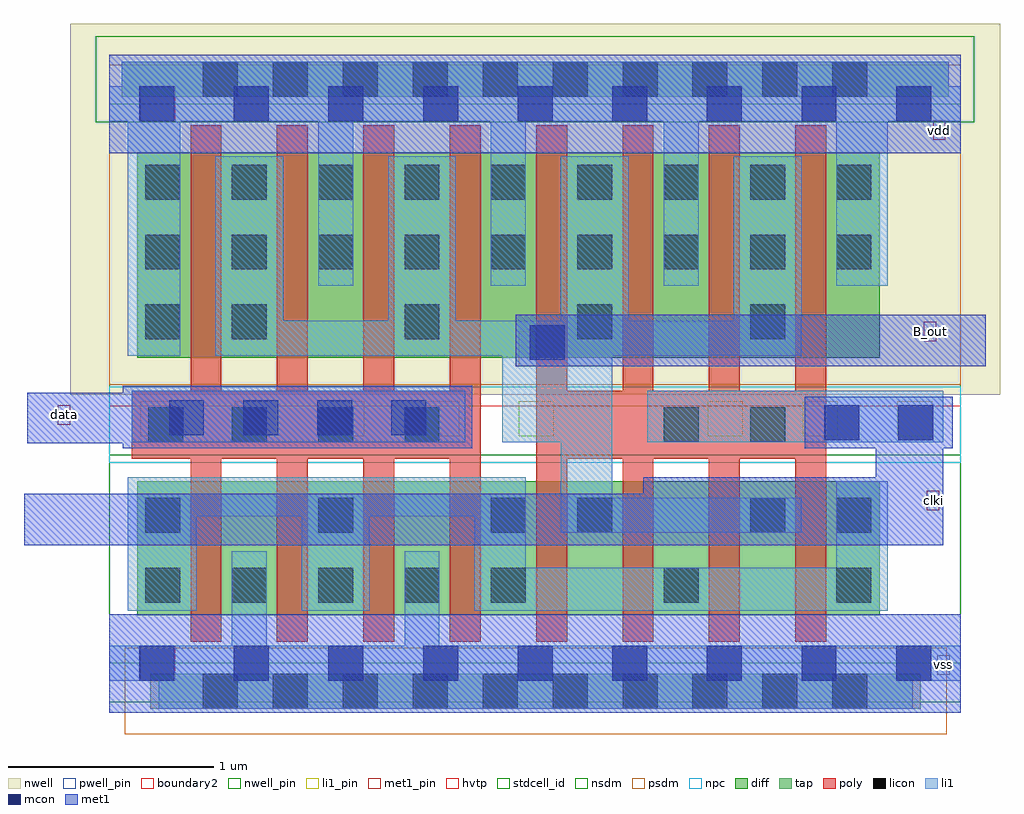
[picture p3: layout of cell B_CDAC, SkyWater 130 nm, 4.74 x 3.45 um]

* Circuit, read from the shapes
.subckt B_CDAC B_out clki data vdd vss
XM1 vss data n1 vss sky130_fd_pr__nfet_01v8 w=0.65 l=0.15 m=4
XM2 B_out clki n1 vss sky130_fd_pr__nfet_01v8 w=0.65 l=0.15 m=4
XM3 B_out data vdd vdd sky130_fd_pr__pfet_01v8_hvt w=1 l=0.15 m=4
XM4 B_out clki vdd vdd sky130_fd_pr__pfet_01v8_hvt w=1 l=0.15 m=4
.ends

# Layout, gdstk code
import gdstk
lib = gdstk.Library(unit=1e-6, precision=1e-09)
def R(c, l, rs):  # rectangles x0, y0, x1, y1
    for r in rs: c.add(gdstk.rectangle(r[:2], r[2:], *l))
def A(c, l, x, y, w, h, nx, ny, dx, dy):  # array of equal rectangles
    R(c, l, [(x+i*dx, y+j*dy, x+i*dx+w, y+j*dy+h) for i in range(nx) for j in range(ny)])
def P(c, l, *ps):  # polygons
    for p in ps: c.add(gdstk.Polygon(p, *l))
nwell_pin = (64, 16)
nwell = (64, 20)
diff = (65, 20)
tap = (65, 44)
poly = (66, 20)
licon = (66, 44)
li1_pin = (67, 16)
li1 = (67, 20)
mcon = (67, 44)
met1_pin = (68, 16)
met1 = (68, 20)
hvtp = (78, 44)
stdcell_id = (81, 4)
nsdm = (93, 44)
psdm = (94, 20)
npc = (95, 20)
pwell_pin = (122, 16)
boundary2 = (236, 0)

sky130_fd_sc_hd__nand2_4 = lib.new_cell('sky130_fd_sc_hd__nand2_4')
R(sky130_fd_sc_hd__nand2_4, nwell_pin, [(0.15,2.635,0.32,2.805)])
R(sky130_fd_sc_hd__nand2_4, nwell, [(-0.19,1.305,4.33,2.91)])
R(sky130_fd_sc_hd__nand2_4, diff, [(0.135,0.235,3.745,0.885), (0.135,1.485,3.745,2.485)])
P(sky130_fd_sc_hd__nand2_4, poly, [(2.075,0.105),(2.075,2.615),(2.225,2.615),(2.225,1.325),(2.495,1.325),(2.495,2.615),(2.645,2.615),(2.645,1.325),(2.915,1.325),(2.915,2.615),(3.065,2.615),(3.065,1.325),(3.335,1.325),(3.335,2.615),(3.485,2.615),(3.485,0.105),(3.335,0.105),(3.335,0.995),(3.065,0.995),(3.065,0.105),(2.915,0.105),(2.915,0.995),(2.645,0.995),(2.645,0.105),(2.495,0.105),(2.495,0.995),(2.225,0.995),(2.225,0.105)],
  [(0.395,0.105),(0.395,0.995),(0.11,0.995),(0.11,1.325),(0.395,1.325),(0.395,2.615),(0.545,2.615),(0.545,1.325),(0.815,1.325),(0.815,2.615),(0.965,2.615),(0.965,1.325),(1.235,1.325),(1.235,2.615),(1.385,2.615),(1.385,1.325),(1.655,1.325),(1.655,2.615),(1.805,2.615),(1.805,0.105),(1.655,0.105),(1.655,0.995),(1.385,0.995),(1.385,0.105),(1.235,0.105),(1.235,0.995),(0.965,0.995),(0.965,0.105),(0.815,0.105),(0.815,0.995),(0.545,0.995),(0.545,0.105)])
A(sky130_fd_sc_hd__nand2_4, licon, 0.175, 0.295, 0.17, 0.17, 5, 1, 0.42, 0)
A(sky130_fd_sc_hd__nand2_4, licon, 0.175, 0.635, 0.17, 0.17, 3, 1, 0.84, 0)
A(sky130_fd_sc_hd__nand2_4, licon, 0.595, 1.075, 0.17, 0.17, 3, 1, 0.42, 0)
A(sky130_fd_sc_hd__nand2_4, licon, 0.595, 1.575, 0.17, 0.17, 4, 1, 0.84, 0)
A(sky130_fd_sc_hd__nand2_4, licon, 0.175, 1.915, 0.17, 0.17, 9, 2, 0.42, 0.34)
R(sky130_fd_sc_hd__nand2_4, licon, [(2.695,0.295,2.865,0.465), (3.535,0.295,3.705,0.465), (2.275,0.635,2.445,0.805), (3.115,0.635,3.285,0.805), (3.535,0.635,3.705,0.805), (0.19,1.075,0.36,1.245), (2.695,1.075,2.865,1.245), (3.115,1.075,3.285,1.245), (0.175,1.575,0.345,1.745)])
A(sky130_fd_sc_hd__nand2_4, li1_pin, 0.15, 1.105, 0.17, 0.17, 5, 1, 0.46, 0)
A(sky130_fd_sc_hd__nand2_4, li1_pin, 2.91, 1.105, 0.17, 0.17, 3, 1, 0.46, 0)
R(sky130_fd_sc_hd__nand2_4, li1_pin, [(1.99,1.445,2.16,1.615)])
R(sky130_fd_sc_hd__nand2_4, li1, [(0.11,1.075,1.73,1.325), (2.615,1.075,4.055,1.325)])
P(sky130_fd_sc_hd__nand2_4, li1, [(2.195,0.635),(2.195,1.075),(1.91,1.075),(1.91,1.495),(0.515,1.495),(0.515,2.465),(0.845,2.465),(0.845,1.665),(1.355,1.665),(1.355,2.465),(1.685,2.465),(1.685,1.665),(2.195,1.665),(2.195,2.465),(2.525,2.465),(2.525,1.665),(3.035,1.665),(3.035,2.465),(3.365,2.465),(3.365,1.495),(2.445,1.495),(2.445,0.805),(3.365,0.805),(3.365,0.635)],
  [(0.09,0.255),(0.09,0.905),(2.025,0.905),(2.025,0.465),(3.535,0.465),(3.535,0.885),(3.785,0.885),(3.785,0.255),(1.775,0.255),(1.775,0.715),(1.265,0.715),(1.265,0.255),(0.935,0.255),(0.935,0.715),(0.425,0.715),(0.425,0.255)],
  [(0.09,1.495),(0.09,2.635),(0,2.635),(0,2.805),(4.14,2.805),(4.14,2.635),(3.785,2.635),(3.785,1.835),(3.535,1.835),(3.535,2.635),(2.865,2.635),(2.865,1.835),(2.695,1.835),(2.695,2.635),(2.025,2.635),(2.025,1.835),(1.855,1.835),(1.855,2.635),(1.185,2.635),(1.185,1.835),(1.015,1.835),(1.015,2.635),(0.345,2.635),(0.345,1.495)],
  [(0,-0.085),(0,0.085),(0.595,0.085),(0.595,0.545),(0.765,0.545),(0.765,0.085),(1.435,0.085),(1.435,0.545),(1.605,0.545),(1.605,0.085),(4.14,0.085),(4.14,-0.085)])
A(sky130_fd_sc_hd__nand2_4, mcon, 0.145, -0.085, 0.17, 0.17, 9, 2, 0.46, 2.72)
R(sky130_fd_sc_hd__nand2_4, met1_pin, [(0.15,-0.085,0.32,0.085), (0.15,2.635,0.32,2.805)])
R(sky130_fd_sc_hd__nand2_4, hvtp, [(0,1.25,4.14,2.72)])
R(sky130_fd_sc_hd__nand2_4, stdcell_id, [(0,0,4.14,2.72)])
R(sky130_fd_sc_hd__nand2_4, nsdm, [(0,-0.19,4.14,1.015)])
R(sky130_fd_sc_hd__nand2_4, psdm, [(0,1.355,4.14,2.91)])
R(sky130_fd_sc_hd__nand2_4, npc, [(0,0.975,4.14,1.345)])
R(sky130_fd_sc_hd__nand2_4, pwell_pin, [(0.15,-0.085,0.32,0.085)])
R(sky130_fd_sc_hd__nand2_4, boundary2, [(0,0,4.14,2.72)])
sky130_fd_sc_hd__nand2_4.add(gdstk.FlexPath([(0,0),(4.14,0)], 0.48, ends="flush", simple_path=True, layer=68, datatype=20))  # met1
sky130_fd_sc_hd__nand2_4.add(gdstk.FlexPath([(0,2.72),(4.14,2.72)], 0.48, ends="flush", simple_path=True, layer=68, datatype=20))  # met1
sky130_fd_sc_hd__nand2_4.add(gdstk.Label('A', (2.995,1.19), layer=67, texttype=5))
sky130_fd_sc_hd__nand2_4.add(gdstk.Label('A', (3.455,1.19), layer=67, texttype=5))
sky130_fd_sc_hd__nand2_4.add(gdstk.Label('B', (0.235,1.19), layer=67, texttype=5))
sky130_fd_sc_hd__nand2_4.add(gdstk.Label('B', (0.695,1.19), layer=67, texttype=5))
sky130_fd_sc_hd__nand2_4.add(gdstk.Label('B', (1.155,1.19), layer=67, texttype=5))
sky130_fd_sc_hd__nand2_4.add(gdstk.Label('B', (1.615,1.19), layer=67, texttype=5))
sky130_fd_sc_hd__nand2_4.add(gdstk.Label('Y', (2.075,1.19), layer=67, texttype=5))
sky130_fd_sc_hd__nand2_4.add(gdstk.Label('Y', (2.075,1.53), layer=67, texttype=5))
sky130_fd_sc_hd__nand2_4.add(gdstk.Label('VPB', (0.235,2.72), layer=64, texttype=5))
sky130_fd_sc_hd__nand2_4.add(gdstk.Label('VNB', (0.235,0), layer=64, texttype=59))
sky130_fd_sc_hd__nand2_4.add(gdstk.Label('VPWR', (0.235,2.72), layer=68, texttype=5))
sky130_fd_sc_hd__nand2_4.add(gdstk.Label('VGND', (0.235,0), layer=68, texttype=5))
sky130_fd_sc_hd__nand2_4.add(gdstk.Label('nand2_4', (0,0), layer=83, texttype=44))

b_cdac = lib.new_cell('B_CDAC')
R(b_cdac, nwell, [(0.605,0.705,0.665,0.735), (-3.52,0.735,0.86,1.015), (-3.59,1.015,0.93,1.27)])
R(b_cdac, tap, [(-3.2,-2.06,0.545,-1.89), (-3.34,0.915,0.68,1.085)])
A(b_cdac, licon, -2.945, -2.06, 0.17, 0.17, 10, 2, 0.34, 2.975)
R(b_cdac, li1, [(-3.16,-2.06,0.505,-1.89), (-3.275,-0.765,-1.695,-0.52), (0.04,-0.765,0.64,-0.575), (0.2,-0.575,0.64,-0.515), (-1.365,-0.385,-1.175,-0.195), (-3.34,0.915,0.68,1.085)])
A(b_cdac, mcon, -3.11, -0.73, 0.17, 0.17, 4, 1, 0.36, 0)
R(b_cdac, mcon, [(0.075,-0.755,0.245,-0.585), (0.435,-0.755,0.605,-0.585), (-1.355,-0.365,-1.185,-0.195)])
R(b_cdac, met1_pin, [(0.625,-1.895,0.685,-1.8), (0.575,-1.095,0.635,-1), (-3.65,-0.68,-3.59,-0.585), (0.56,-0.275,0.62,-0.18), (0.605,0.705,0.665,0.8)])
R(b_cdac, met1, [(0.625,-1.895,0.685,-1.8), (-3.815,-1.265,0.655,-1.015), (-0.805,-1.015,0.655,-0.935), (0.325,-0.935,0.655,-0.795), (-3.335,-0.795,-1.635,-0.77), (-0.02,-0.795,0.7,-0.545), (-3.8,-0.77,-1.635,-0.525), (-3.335,-0.525,-1.635,-0.49), (-1.425,-0.395,0.86,-0.145), (0.605,0.705,0.665,0.8)])
R(b_cdac, nsdm, [(-3.465,0.79,0.805,1.21)])
R(b_cdac, psdm, [(-3.325,-2.185,0.67,-1.765)])
b_cdac.add(gdstk.Reference(sky130_fd_sc_hd__nand2_4, (-3.4,-1.84)))
b_cdac.add(gdstk.Label('vdd', (0.635,0.752), layer=68, texttype=5))
b_cdac.add(gdstk.Label('B_out', (0.59,-0.227), layer=68, texttype=5))
b_cdac.add(gdstk.Label('clki', (0.605,-1.047), layer=68, texttype=5))
b_cdac.add(gdstk.Label('data', (-3.62,-0.632), layer=68, texttype=5))
b_cdac.add(gdstk.Label('vss', (0.655,-1.847), layer=68, texttype=5))

lib.write_gds('B_CDAC.gds')
